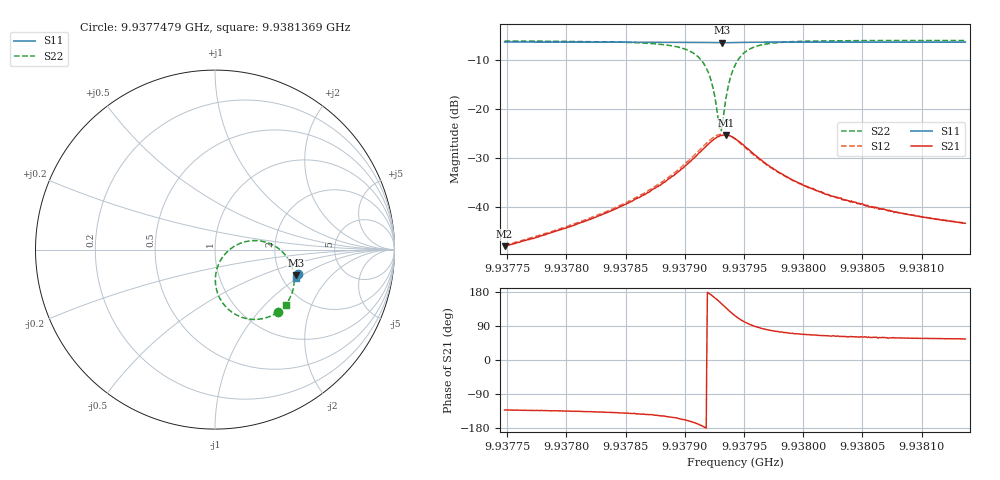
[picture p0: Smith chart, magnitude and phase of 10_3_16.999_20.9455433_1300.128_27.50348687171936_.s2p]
#  HZ  S  RI  R  50.00
! Rohde & Schwarz Vector Network Analyzer
! Rohde-Schwarz,ZNB20-2Port,1311601062101988,3.16
! Created: UTC 3/20/2024, 10:52:27 PM
! freq[Hz]  re:S11  im:S11  re:S21  im:S21  re:S12  im:S12  re:S22  im:S22
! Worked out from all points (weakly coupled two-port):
!   401 points, 9.9377479 GHz to 9.9381369 GHz, reference 50 ohm
!   highest |S21| = -25.27 dB at 9.9379346 GHz (marker M1); lowest = -47.9 dB at 9.9377479 GHz (marker M2)
!   lowest |S11| = -6.5 dB at 9.9379317 GHz (marker M3), VSWR 2.80, Z = 121 - j44.8 ohm
!   |S11| at or under -10 dB: nowhere
!   |S22| runs from -24.4 to -6.0 dB; largest |S21 - S12| = 0.0057
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9.9377479e9  0.4621 -0.1348  -0.00269 -0.00298  -0.00276 -0.00302  0.3492 -0.3481
9.93781305e9  0.4603 -0.1395  -0.00504 -0.00491  -0.00524 -0.00496  0.3242 -0.3634
9.93785e9  0.459 -0.1423  -0.00824 -0.00689  -0.00864 -0.00697  0.2937 -0.377
9.9378782e9  0.4577 -0.1444  -0.0139 -0.00907  -0.0147 -0.0092  0.2427 -0.3878
9.93790154e9  0.4557 -0.1463  -0.0253 -0.00963  -0.027 -0.00939  0.145 -0.3753
9.93791418e9  0.4538 -0.1468  -0.0375 -0.00459  -0.04 -0.00258  0.0506 -0.3073
9.93791807e9  0.4532 -0.1467  -0.0418 -0.000166  -0.0446 0.00271  0.0219 -0.2618
9.93792196e9  0.4522 -0.1463  -0.0457 0.00599  -0.0481 0.0102  0.00368 -0.1992
9.93792488e9  0.4521 -0.1458  -0.0479 0.0124  -0.049 0.0173  0.00339 -0.1427
9.93792877e9  0.4516 -0.1447  -0.0477 0.0222  -0.0473 0.0276  0.0283 -0.0643
9.93792974e9  0.4517 -0.1446  -0.0474 0.0247  -0.0464 0.03  0.04 -0.0452
9.93793168e9  0.4517 -0.144  -0.045 0.0297  -0.0435 0.0349  0.0683 -0.0117
9.9379346e9  0.4521 -0.1433  -0.0406 0.0363  -0.0374 0.0408  0.1222 0.0269
9.93793849e9  0.4528 -0.1426  -0.0321 0.0424  -0.0279 0.0452  0.2022 0.0497
9.93794238e9  0.454 -0.1424  -0.0226 0.0445  -0.0187 0.0461  0.2753 0.0436
9.93795016e9  0.4554 -0.1429  -0.00795 0.0415  -0.00514 0.041  0.3736 -0.0108
9.93796085e9  0.4565 -0.1443  0.00163 0.0327  0.00304 0.0319  0.4273 -0.0924
9.93798614e9  0.4568 -0.1476  0.00628 0.0195  0.00696 0.0189  0.4393 -0.1994
9.93800753e9  0.4564 -0.1496  0.0062 0.0142  0.00666 0.0139  0.4299 -0.2397
9.93803476e9  0.4555 -0.1517  0.0055 0.0105  0.0058 0.0103  0.4183 -0.2676
9.93807268e9  0.4546 -0.1545  0.00492 0.00794  0.00493 0.00778  0.4065 -0.2888
9.93813686e9  0.4529 -0.1589  0.00388 0.00566  0.00401 0.00562  0.3933 -0.3072
